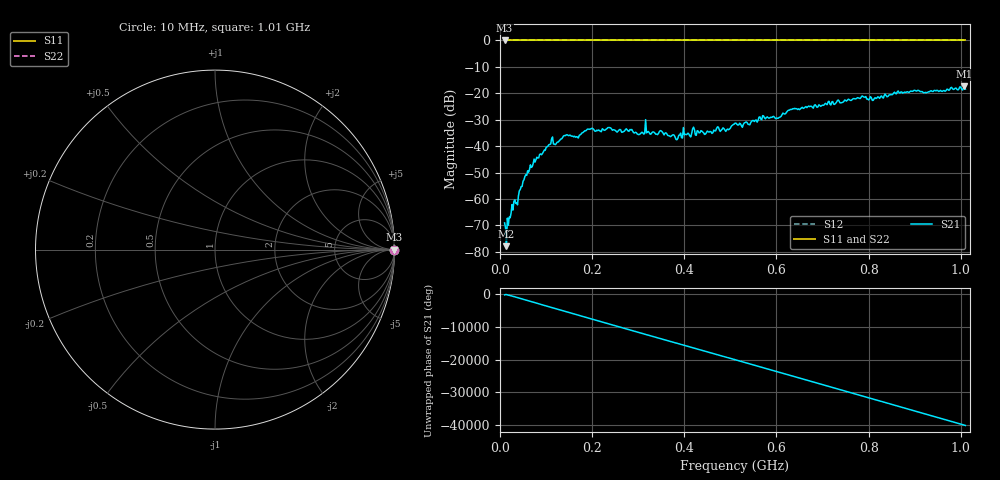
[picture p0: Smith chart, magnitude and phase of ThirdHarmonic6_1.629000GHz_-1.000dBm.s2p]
! 8/16/2025 7:28:18 PM
! C:\ANRITSUVNA\TEMP\TEMP.S2P
! CHANNEL.1
! TR.MEASUREMENT
! RAW.DATA
! RF.CORRECTION.OFF
! AVERAGING.OFF
! IF.BANDWIDTH: 5KHZ
! SWEEPTYPE:  FREQ.SWEEP(Linear)
! Reference Plane Port Info
! PORT:  PORT1  PORT2
! DISTANCE:  0  m  0  m
! TIME:  0  s  0  s
! PHASE.OFFSET:  0  deg.  0  deg.
! LOSS:  0  dB  0  dB
! REF.LOSS:  0  dB  0  dB
! REF.FREQ:  0  Hz  0  Hz
! Power Info
! POWER:  -20  dBm  -20  dBm
! EFF.POWER:  -20  dBm  -20  dBm
! SOURCE.ATTEN:  0  dB  0  dB
! TEST.ATTEN:  0  dB  0  dB
# GHZ S RI R 50.0
! FREQ.GHZ  S11RE  S11IM  S21RE  S21IM  S12RE  S12IM  S22RE  S22IM
!; PortSelection: Port_12
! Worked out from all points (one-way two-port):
!   501 points, 10 MHz to 1.01 GHz, reference 50 ohm
!   highest |S21| = -17.33 dB at 1.008 GHz (marker M1); lowest = -77.9 dB at 14 MHz (marker M2)
!   lowest |S11| = 0.0 dB at 10 MHz (marker M3)
!   |S11| at or under -10 dB: nowhere
!   |S22| runs from 0.0 to 0.0 dB; largest |S21 - S12| = 1.1
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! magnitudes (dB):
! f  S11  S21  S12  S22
! 10 MHz  0.0  -69.1  0.0  0.0
! 14 MHz  0.0  -77.9  0.0  0.0
! 18 MHz  0.0  -70.0  0.0  0.0
! 28 MHz  0.0  -64.2  0.0  0.0
! 38 MHz  0.0  -62.2  0.0  0.0
! 56 MHz  0.0  -50.8  0.0  0.0
! 76 MHz  0.0  -46.0  0.0  0.0
! 110 MHz  0.0  -39.2  0.0  0.0
! 120 MHz  0.0  -39.4  0.0  0.0
! 178 MHz  0.0  -35.0  0.0  0.0
! 236 MHz  0.0  -32.9  0.0  0.0
! 344 MHz  0.0  -35.2  0.0  0.0
! 384 MHz  0.0  -37.6  0.0  0.0
! 420 MHz  0.0  -32.8  0.0  0.0
! 494 MHz  0.0  -33.5  0.0  0.0
! 510 MHz  0.0  -31.3  0.0  0.0
! 602 MHz  0.0  -29.4  0.0  0.0
! 632 MHz  0.0  -26.1  0.0  0.0
! 678 MHz  0.0  -25.3  0.0  0.0
! 844 MHz  0.0  -20.7  0.0  0.0
! 1.008 GHz  0.0  -17.3  0.0  0.0
! 1.01 GHz  0.0  -18.4  0.0  0.0
